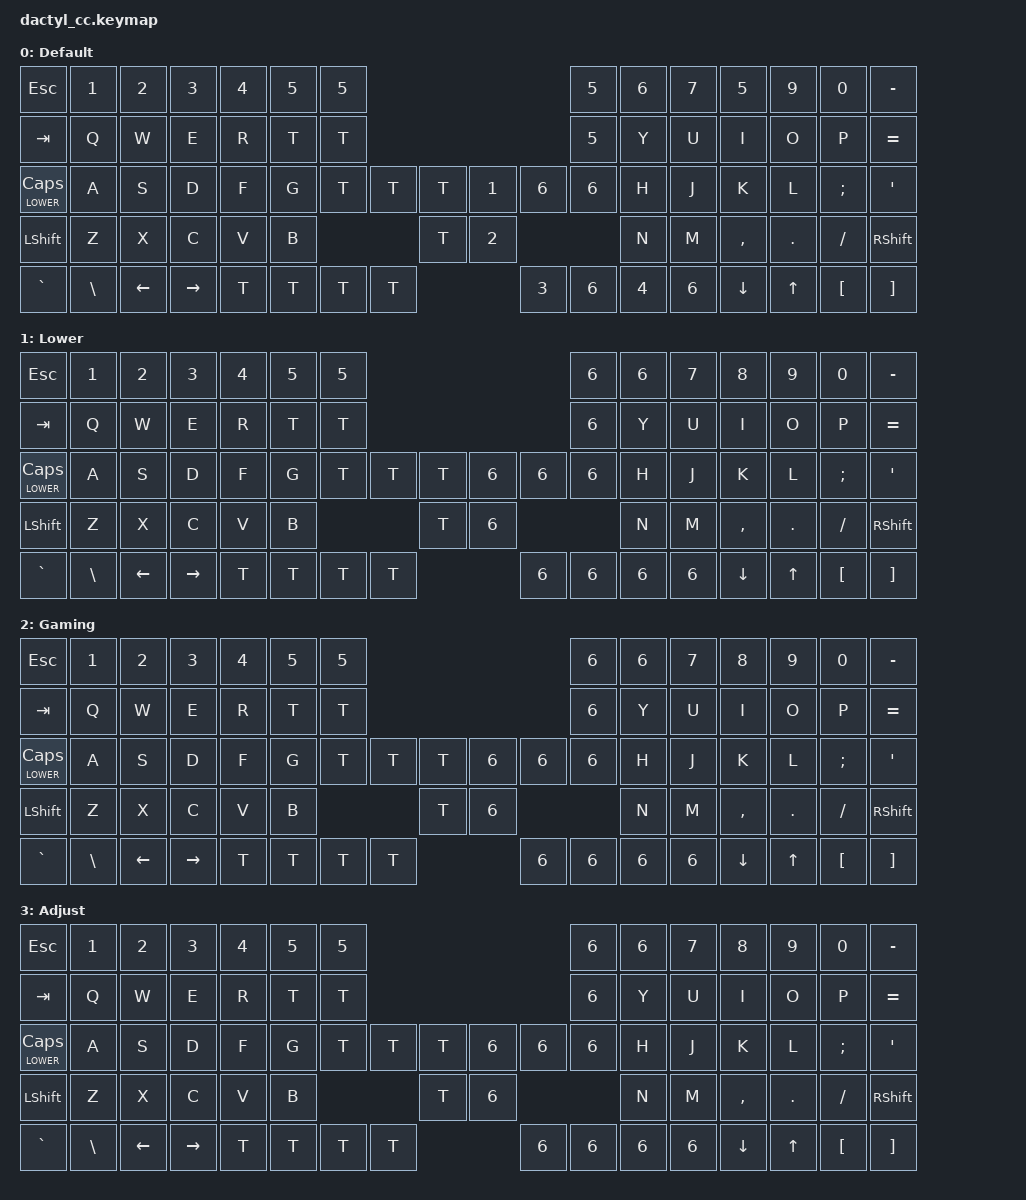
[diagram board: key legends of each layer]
#include <behaviors.dtsi>
#include <dt-bindings/zmk/keys.h>
#include <dt-bindings/zmk/bt.h>
#include <dt-bindings/zmk/outputs.h>

#define DEFAULT 0
#define LOWER   1
#define RAISE   2
#define ADJUST  3





/ {
    keymap {
        compatible = "zmk,keymap";

        // Default layer. Modeled after the original Kinesis layout with a few tweaks.
        // Equals above tab = ESC
        // Backslash below minus = Equals
        // Swapped up and down arrows
        default_layer {
            display-name = "Default";
            bindings = <
    &kp ESC        &kp N1    &kp N2   &kp N3    &kp N4    &kp N5 &kp N5                                &kp N5  &kp N6    &kp N7    &kp N5    &kp N9    &kp N0   &kp MINUS
    &kp TAB        &kp Q     &kp W    &kp E     &kp R     &kp T  &kp T                                 &kp N5  &kp Y     &kp U     &kp I     &kp O     &kp P    &kp EQUAL
    &lt LOWER CAPS &kp A     &kp S    &kp D     &kp F     &kp G  &kp T &kp T &kp T       &kp N1 &kp N6 &kp N6  &kp H     &kp J     &kp K     &kp L     &kp SEMI &kp SQT
    &kp LSHFT      &kp Z     &kp X    &kp C     &kp V     &kp B              &kp T       &kp N2                &kp N     &kp M     &kp COMMA &kp DOT   &kp FSLH &kp RSHFT
    &kp GRAVE      &kp BSLH  &kp LEFT &kp RIGHT &kp T            &kp T &kp T &kp T       &kp N3 &kp N6 &kp N4            &kp N6    &kp DOWN  &kp UP    &kp LBKT  &kp RBKT
                                                         
            >;
        };
        lower_layer {
            display-name = "Lower";
            bindings = <
    &kp ESC        &kp N1    &kp N2   &kp N3    &kp N4    &kp N5 &kp N5                                &kp N6  &kp N6    &kp N7    &kp N8    &kp N9    &kp N0   &kp MINUS
    &kp TAB        &kp Q     &kp W    &kp E     &kp R     &kp T  &kp T                                 &kp N6  &kp Y     &kp U     &kp I     &kp O     &kp P    &kp EQUAL
    &lt LOWER CAPS &kp A     &kp S    &kp D     &kp F     &kp G  &kp T &kp T &kp T       &kp N6 &kp N6 &kp N6  &kp H     &kp J     &kp K     &kp L     &kp SEMI &kp SQT
    &kp LSHFT      &kp Z     &kp X    &kp C     &kp V     &kp B              &kp T       &kp N6                &kp N     &kp M     &kp COMMA &kp DOT   &kp FSLH &kp RSHFT
    &kp GRAVE      &kp BSLH  &kp LEFT &kp RIGHT &kp T            &kp T &kp T &kp T       &kp N6 &kp N6 &kp N6            &kp N6    &kp DOWN  &kp UP    &kp LBKT  &kp RBKT
            >;       };

        raise_layer {
            display-name = "Gaming";
            bindings = <
    &kp ESC        &kp N1    &kp N2   &kp N3    &kp N4    &kp N5 &kp N5                                &kp N6  &kp N6    &kp N7    &kp N8    &kp N9    &kp N0   &kp MINUS
    &kp TAB        &kp Q     &kp W    &kp E     &kp R     &kp T  &kp T                                 &kp N6  &kp Y     &kp U     &kp I     &kp O     &kp P    &kp EQUAL
    &lt LOWER CAPS &kp A     &kp S    &kp D     &kp F     &kp G  &kp T &kp T &kp T       &kp N6 &kp N6 &kp N6  &kp H     &kp J     &kp K     &kp L     &kp SEMI &kp SQT
    &kp LSHFT      &kp Z     &kp X    &kp C     &kp V     &kp B              &kp T       &kp N6                &kp N     &kp M     &kp COMMA &kp DOT   &kp FSLH &kp RSHFT
    &kp GRAVE      &kp BSLH  &kp LEFT &kp RIGHT &kp T            &kp T &kp T &kp T       &kp N6 &kp N6 &kp N6            &kp N6    &kp DOWN  &kp UP    &kp LBKT  &kp RBKT
            >;
        };

        
        adjust_layer {
            display-name = "Adjust";
            bindings = <
    &kp ESC        &kp N1    &kp N2   &kp N3    &kp N4    &kp N5 &kp N5                                &kp N6  &kp N6    &kp N7    &kp N8    &kp N9    &kp N0   &kp MINUS
    &kp TAB        &kp Q     &kp W    &kp E     &kp R     &kp T  &kp T                                 &kp N6  &kp Y     &kp U     &kp I     &kp O     &kp P    &kp EQUAL
    &lt LOWER CAPS &kp A     &kp S    &kp D     &kp F     &kp G  &kp T &kp T &kp T       &kp N6 &kp N6 &kp N6  &kp H     &kp J     &kp K     &kp L     &kp SEMI &kp SQT
    &kp LSHFT      &kp Z     &kp X    &kp C     &kp V     &kp B              &kp T       &kp N6                &kp N     &kp M     &kp COMMA &kp DOT   &kp FSLH &kp RSHFT
    &kp GRAVE      &kp BSLH  &kp LEFT &kp RIGHT &kp T            &kp T &kp T &kp T       &kp N6 &kp N6 &kp N6            &kp N6    &kp DOWN  &kp UP    &kp LBKT  &kp RBKT
            >;
        };
    };
};
